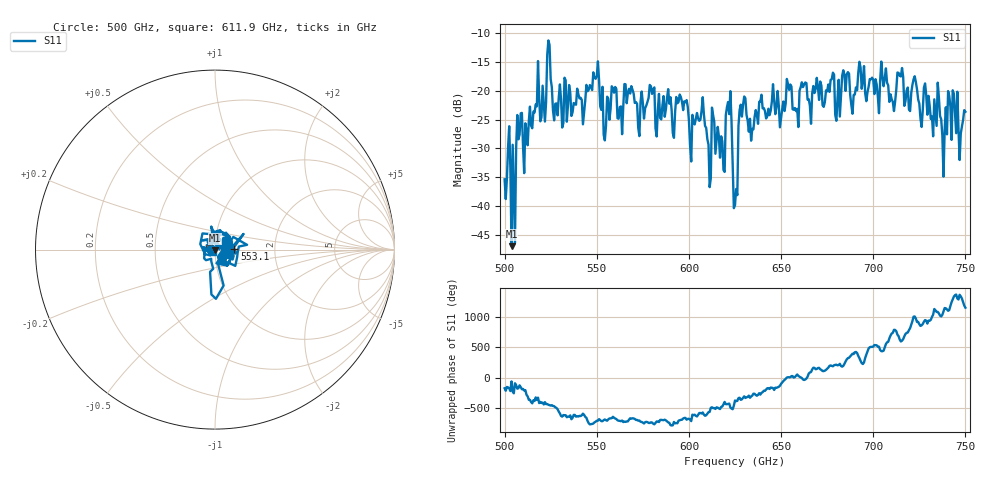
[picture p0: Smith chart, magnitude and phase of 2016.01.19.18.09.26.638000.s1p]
!Created with skrf (http://scikit-rf.org).
# GHz S RI R 50.0
!freq ReS11 ImS11
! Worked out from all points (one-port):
!   401 points, 500 GHz to 750 GHz, reference 50 ohm
!   lowest |S11| = -47.0 dB at 503.8 GHz (marker M1), VSWR 1.01, Z = 50.2 - j0.405 ohm
!   |S11| at or under -10 dB: start of sweep to end of sweep
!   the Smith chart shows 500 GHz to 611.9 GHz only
!   S11 on the Smith chart (normalised r, x): 500 GHz: 0.97, -0.00; 553.1 GHz: 1.24, +0.00; 611.9 GHz: 0.97, -0.02
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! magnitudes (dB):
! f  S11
! 500 GHz  -35.4
! 503.8 GHz  -47.0
! 505 GHz  -37.6
! 508.1 GHz  -27.6
! 520.6 GHz  -19.1
! 524.4 GHz  -12.0
! 527.5 GHz  -22.2
! 531.2 GHz  -26.4
! 549.4 GHz  -17.9
! 553.1 GHz  -19.3
! 559.4 GHz  -20.3
! 562.5 GHz  -22.8
! 593.8 GHz  -22.2
! 611.9 GHz  -35.2
! 618.1 GHz  -28.8
! 621.9 GHz  -24.0
! 625 GHz  -39.8
! 629.4 GHz  -22.4
! 633.8 GHz  -28.6
! 656.2 GHz  -23.2
! 687.5 GHz  -20.7
! 710.6 GHz  -21.9
! 714.4 GHz  -17.4
! 718.8 GHz  -19.4
! 734.4 GHz  -26.1
! 738.8 GHz  -26.8
! 740.6 GHz  -20.0
! 750 GHz  -23.6
